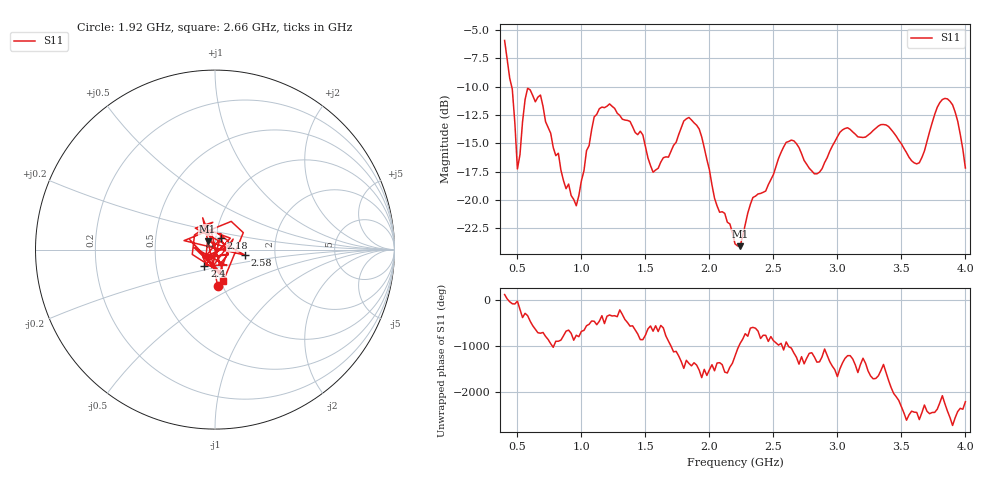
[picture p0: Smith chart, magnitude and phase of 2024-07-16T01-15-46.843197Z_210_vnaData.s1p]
!Created with skrf (http://scikit-rf.org).
# Hz S RI R 50.0
!freq ReS11 ImS11
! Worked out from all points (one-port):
!   181 points, 400 MHz to 4 GHz, reference 50 ohm
!   lowest |S11| = -24.1 dB at 2.24 GHz (marker M1), VSWR 1.13, Z = 45.8 + j4.34 ohm
!   |S11| at or under -10 dB: 455.3 MHz to end of sweep
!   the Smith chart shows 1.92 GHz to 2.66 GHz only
!   S11 on the Smith chart (normalised r, x): 1.92 GHz: 0.95, -0.41; 2.18 GHz: 1.06, +0.14; 2.4 GHz: 0.88, -0.16; 2.58 GHz: 1.40, -0.09; 2.66 GHz: 1.03, -0.37
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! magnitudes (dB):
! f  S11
! 400 MHz  -5.9
! 460 MHz  -10.2
! 500 MHz  -17.3
! 580 MHz  -10.1
! 680 MHz  -10.7
! 860 MHz  -18.3
! 960 MHz  -20.5
! 1.1 GHz  -12.7
! 1.3 GHz  -12.5
! 1.48 GHz  -14.3
! 1.56 GHz  -17.5
! 1.76 GHz  -14.2
! 1.92 GHz  -13.7
! 2.04 GHz  -19.8
! 2.18 GHz  -22.9
! 2.2 GHz  -23.9
! 2.24 GHz  -24.1
! 2.4 GHz  -19.4
! 2.58 GHz  -15.3
! 2.66 GHz  -14.8
! 2.84 GHz  -17.7
! 3.1 GHz  -13.8
! 3.38 GHz  -13.4
! 3.56 GHz  -16.2
! 3.64 GHz  -16.7
! 3.84 GHz  -11.0
! 3.92 GHz  -12.2
! 4 GHz  -17.2
